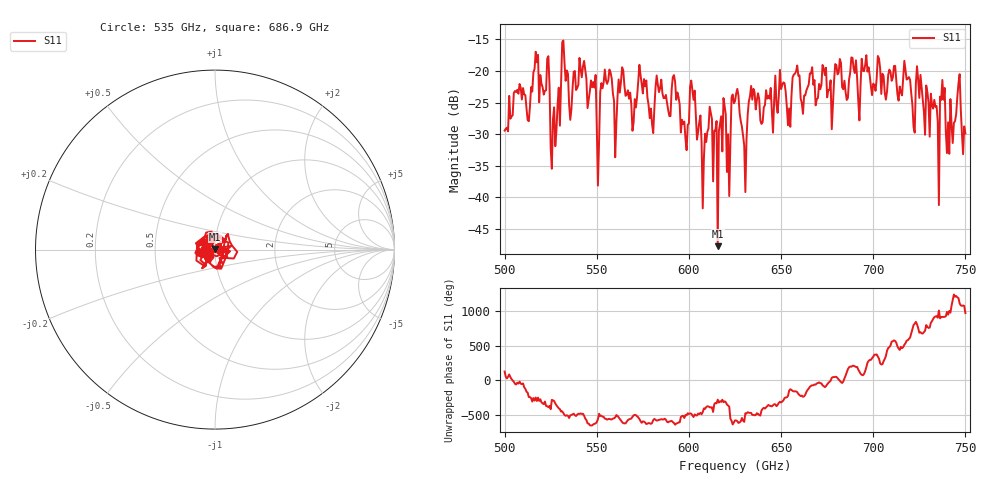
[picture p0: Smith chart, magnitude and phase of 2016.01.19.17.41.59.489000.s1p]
!Created with skrf (http://scikit-rf.org).
# GHz S RI R 50.0
!freq ReS11 ImS11
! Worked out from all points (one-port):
!   401 points, 500 GHz to 750 GHz, reference 50 ohm
!   lowest |S11| = -47.7 dB at 615.6 GHz (marker M1), VSWR 1.01, Z = 50.1 + j0.406 ohm
!   |S11| at or under -10 dB: start of sweep to end of sweep
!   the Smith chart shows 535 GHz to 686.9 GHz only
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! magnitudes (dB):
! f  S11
! 500 GHz  -29.4
! 506.9 GHz  -23.0
! 513.1 GHz  -27.9
! 516.9 GHz  -16.9
! 523.1 GHz  -18.0
! 526.2 GHz  -27.6
! 531.2 GHz  -15.4
! 548.1 GHz  -21.7
! 551.2 GHz  -31.2
! 553.8 GHz  -21.8
! 560 GHz  -33.7
! 562.5 GHz  -23.4
! 574.4 GHz  -22.0
! 580 GHz  -28.4
! 583.8 GHz  -23.3
! 593.8 GHz  -23.4
! 615.6 GHz  -47.7
! 618.8 GHz  -24.3
! 621.9 GHz  -39.8
! 625 GHz  -24.8
! 630 GHz  -31.8
! 634.4 GHz  -24.5
! 656.2 GHz  -21.0
! 687.5 GHz  -20.3
! 718.8 GHz  -21.2
! 734.4 GHz  -25.5
! 746.2 GHz  -21.9
! 750 GHz  -29.9
